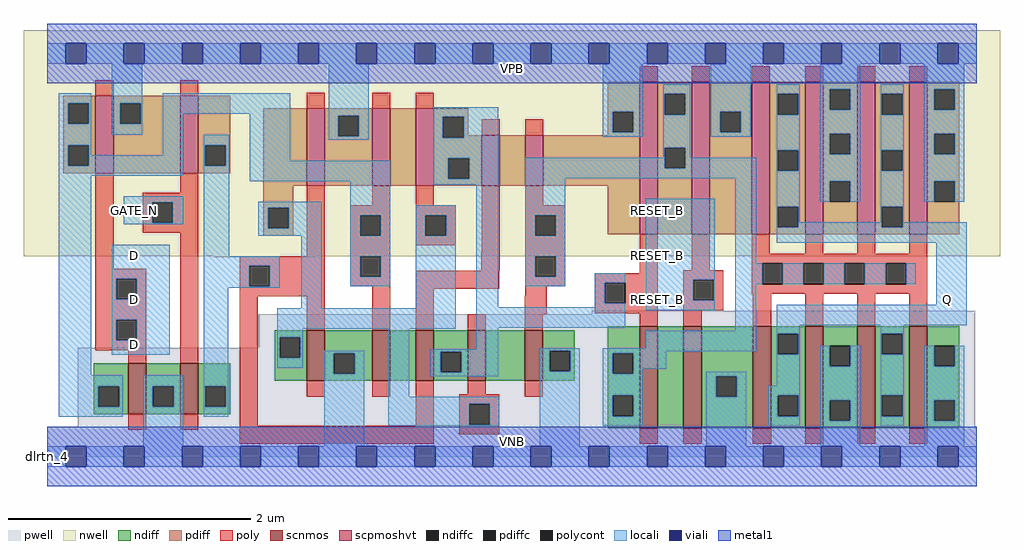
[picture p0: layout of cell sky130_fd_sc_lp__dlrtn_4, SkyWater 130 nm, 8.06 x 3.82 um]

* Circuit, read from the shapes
.subckt sky130_fd_sc_lp__dlrtn_4 D GATE_N RESET_B VGND VNB VPB VPWR Q
XM1 VGND D n1 VNB sky130_fd_pr__nfet_01v8 w=0.42 l=0.15
XM2 n2 GATE_N VGND VNB sky130_fd_pr__nfet_01v8 w=0.42 l=0.15
XM3 VGND n2 n3 VNB sky130_fd_pr__nfet_01v8 w=0.42 l=0.15
XM4 n4 n1 VGND VNB sky130_fd_pr__nfet_01v8 w=0.42 l=0.15
XM5 n5 n2 n4 VNB sky130_fd_pr__nfet_01v8 w=0.42 l=0.15
XM6 n6 n3 n5 VNB sky130_fd_pr__nfet_01v8 w=0.42 l=0.15
XM7 VGND n7 n6 VNB sky130_fd_pr__nfet_01v8 w=0.42 l=0.15
XM8 n8 n5 n7 VNB sky130_fd_pr__nfet_01v8 w=0.84 l=0.15
XM9 VGND RESET_B n8 VNB sky130_fd_pr__nfet_01v8 w=0.84 l=0.15
XM10 Q n7 VGND VNB sky130_fd_pr__nfet_01v8 w=0.84 l=0.15 m=4
XM11 VPWR D n1 VPB sky130_fd_pr__pfet_01v8_hvt w=0.64 l=0.15
XM12 n2 GATE_N VPWR VPB sky130_fd_pr__pfet_01v8_hvt w=0.64 l=0.15
XM13 VPWR n2 n3 VPB sky130_fd_pr__pfet_01v8_hvt w=0.64 l=0.15
XM14 n9 n1 VPWR VPB sky130_fd_pr__pfet_01v8_hvt w=0.64 l=0.15
XM15 n5 n3 n9 VPB sky130_fd_pr__pfet_01v8_hvt w=0.64 l=0.15
XM16 n10 n2 n5 VPB sky130_fd_pr__pfet_01v8_hvt w=0.42 l=0.15
XM17 VPWR n7 n10 VPB sky130_fd_pr__pfet_01v8_hvt w=0.42 l=0.15
XM18 n7 n5 VPWR VPB sky130_fd_pr__pfet_01v8_hvt w=1.26 l=0.15
XM19 VPWR RESET_B n7 VPB sky130_fd_pr__pfet_01v8_hvt w=1.26 l=0.15
XM20 Q n7 VPWR VPB sky130_fd_pr__pfet_01v8_hvt w=1.26 l=0.15 m=4
.ends

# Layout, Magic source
magic
tech sky130A
magscale 1 2
<< nwell >>
rect -38 331 1574 704
rect 275 329 443 331
<< pwell >>
rect 900 235 1533 241
rect 350 180 1533 235
rect 51 49 1533 180
rect 0 0 1536 49
<< scnmos >>
rect 134 70 164 154
rect 220 70 250 154
rect 429 125 459 209
rect 537 125 567 209
rect 609 125 639 209
rect 695 125 725 209
rect 789 125 819 209
rect 979 47 1009 215
rect 1051 47 1081 215
rect 1166 47 1196 215
rect 1252 47 1282 215
rect 1338 47 1368 215
rect 1424 47 1454 215
<< scpmoshvt >>
rect 80 468 110 596
rect 220 468 250 596
rect 429 447 459 575
rect 537 447 567 575
rect 609 447 639 575
rect 718 447 748 531
rect 790 447 820 531
rect 979 367 1009 619
rect 1065 367 1095 619
rect 1164 367 1194 619
rect 1252 367 1282 619
rect 1338 367 1368 619
rect 1424 367 1454 619
<< ndiff >>
rect 77 116 134 154
rect 77 82 85 116
rect 119 82 134 116
rect 77 70 134 82
rect 164 116 220 154
rect 164 82 175 116
rect 209 82 220 116
rect 164 70 220 82
rect 250 116 303 154
rect 250 82 261 116
rect 295 82 303 116
rect 250 70 303 82
rect 376 197 429 209
rect 376 163 384 197
rect 418 163 429 197
rect 376 125 429 163
rect 459 171 537 209
rect 459 137 474 171
rect 508 137 537 171
rect 459 125 537 137
rect 567 125 609 209
rect 639 173 695 209
rect 639 139 650 173
rect 684 139 695 173
rect 639 125 695 139
rect 725 125 789 209
rect 819 175 872 209
rect 819 141 830 175
rect 864 141 872 175
rect 819 125 872 141
rect 926 171 979 215
rect 926 137 934 171
rect 968 137 979 171
rect 926 101 979 137
rect 926 67 934 101
rect 968 67 979 101
rect 926 47 979 67
rect 1009 47 1051 215
rect 1081 133 1166 215
rect 1081 99 1105 133
rect 1139 99 1166 133
rect 1081 47 1166 99
rect 1196 203 1252 215
rect 1196 169 1207 203
rect 1241 169 1252 203
rect 1196 101 1252 169
rect 1196 67 1207 101
rect 1241 67 1252 101
rect 1196 47 1252 67
rect 1282 183 1338 215
rect 1282 149 1293 183
rect 1327 149 1338 183
rect 1282 93 1338 149
rect 1282 59 1293 93
rect 1327 59 1338 93
rect 1282 47 1338 59
rect 1368 203 1424 215
rect 1368 169 1379 203
rect 1413 169 1424 203
rect 1368 101 1424 169
rect 1368 67 1379 101
rect 1413 67 1424 101
rect 1368 47 1424 67
rect 1454 183 1507 215
rect 1454 149 1465 183
rect 1499 149 1507 183
rect 1454 93 1507 149
rect 1454 59 1465 93
rect 1499 59 1507 93
rect 1454 47 1507 59
<< pdiff >>
rect 27 584 80 596
rect 27 550 35 584
rect 69 550 80 584
rect 27 514 80 550
rect 27 480 35 514
rect 69 480 80 514
rect 27 468 80 480
rect 110 584 220 596
rect 110 550 121 584
rect 155 550 220 584
rect 110 468 220 550
rect 250 514 303 596
rect 250 480 261 514
rect 295 480 303 514
rect 250 468 303 480
rect 357 447 429 575
rect 459 563 537 575
rect 459 529 481 563
rect 515 529 537 563
rect 459 447 537 529
rect 567 447 609 575
rect 639 561 696 575
rect 639 527 654 561
rect 688 531 696 561
rect 926 570 979 619
rect 926 536 934 570
rect 968 536 979 570
rect 926 531 979 536
rect 688 527 718 531
rect 639 493 718 527
rect 639 459 663 493
rect 697 459 718 493
rect 639 447 718 459
rect 748 447 790 531
rect 820 447 979 531
rect 357 411 407 447
rect 357 377 365 411
rect 399 377 407 411
rect 357 365 407 377
rect 926 367 979 447
rect 1009 599 1065 619
rect 1009 565 1020 599
rect 1054 565 1065 599
rect 1009 510 1065 565
rect 1009 476 1020 510
rect 1054 476 1065 510
rect 1009 367 1065 476
rect 1095 570 1164 619
rect 1095 536 1112 570
rect 1146 536 1164 570
rect 1095 367 1164 536
rect 1194 599 1252 619
rect 1194 565 1207 599
rect 1241 565 1252 599
rect 1194 506 1252 565
rect 1194 472 1207 506
rect 1241 472 1252 506
rect 1194 413 1252 472
rect 1194 379 1207 413
rect 1241 379 1252 413
rect 1194 367 1252 379
rect 1282 607 1338 619
rect 1282 573 1293 607
rect 1327 573 1338 607
rect 1282 533 1338 573
rect 1282 499 1293 533
rect 1327 499 1338 533
rect 1282 455 1338 499
rect 1282 421 1293 455
rect 1327 421 1338 455
rect 1282 367 1338 421
rect 1368 599 1424 619
rect 1368 565 1379 599
rect 1413 565 1424 599
rect 1368 506 1424 565
rect 1368 472 1379 506
rect 1413 472 1424 506
rect 1368 413 1424 472
rect 1368 379 1379 413
rect 1413 379 1424 413
rect 1368 367 1424 379
rect 1454 607 1507 619
rect 1454 573 1465 607
rect 1499 573 1507 607
rect 1454 533 1507 573
rect 1454 499 1465 533
rect 1499 499 1507 533
rect 1454 455 1507 499
rect 1454 421 1465 455
rect 1499 421 1507 455
rect 1454 367 1507 421
<< ndiffc >>
rect 85 82 119 116
rect 175 82 209 116
rect 261 82 295 116
rect 384 163 418 197
rect 474 137 508 171
rect 650 139 684 173
rect 830 141 864 175
rect 934 137 968 171
rect 934 67 968 101
rect 1105 99 1139 133
rect 1207 169 1241 203
rect 1207 67 1241 101
rect 1293 149 1327 183
rect 1293 59 1327 93
rect 1379 169 1413 203
rect 1379 67 1413 101
rect 1465 149 1499 183
rect 1465 59 1499 93
<< pdiffc >>
rect 35 550 69 584
rect 35 480 69 514
rect 121 550 155 584
rect 261 480 295 514
rect 481 529 515 563
rect 654 527 688 561
rect 934 536 968 570
rect 663 459 697 493
rect 365 377 399 411
rect 1020 565 1054 599
rect 1020 476 1054 510
rect 1112 536 1146 570
rect 1207 565 1241 599
rect 1207 472 1241 506
rect 1207 379 1241 413
rect 1293 573 1327 607
rect 1293 499 1327 533
rect 1293 421 1327 455
rect 1379 565 1413 599
rect 1379 472 1413 506
rect 1379 379 1413 413
rect 1465 573 1499 607
rect 1465 499 1499 533
rect 1465 421 1499 455
<< poly >>
rect 80 596 110 622
rect 220 596 250 622
rect 979 619 1009 645
rect 1065 619 1095 645
rect 1164 619 1194 645
rect 1252 619 1282 645
rect 1338 619 1368 645
rect 1424 619 1454 645
rect 429 575 459 601
rect 537 575 567 601
rect 609 575 639 601
rect 80 310 110 468
rect 220 436 250 468
rect 158 420 250 436
rect 158 386 174 420
rect 208 386 250 420
rect 158 370 250 386
rect 80 294 164 310
rect 80 260 114 294
rect 148 260 164 294
rect 80 226 164 260
rect 80 192 114 226
rect 148 192 164 226
rect 80 176 164 192
rect 134 154 164 176
rect 220 154 250 370
rect 718 531 748 557
rect 790 531 820 557
rect 429 331 459 447
rect 537 415 567 447
rect 318 315 459 331
rect 318 281 334 315
rect 368 281 459 315
rect 501 399 567 415
rect 501 365 517 399
rect 551 365 567 399
rect 501 331 567 365
rect 609 415 639 447
rect 609 399 675 415
rect 609 365 625 399
rect 659 365 675 399
rect 609 349 675 365
rect 718 337 748 447
rect 501 297 517 331
rect 551 297 567 331
rect 717 307 748 337
rect 790 415 820 447
rect 790 399 856 415
rect 790 365 806 399
rect 840 365 856 399
rect 790 331 856 365
rect 501 281 567 297
rect 318 265 459 281
rect 134 44 164 70
rect 220 44 250 70
rect 318 51 348 265
rect 429 209 459 265
rect 537 209 567 281
rect 609 277 747 307
rect 790 297 806 331
rect 840 297 856 331
rect 979 303 1009 367
rect 1065 308 1095 367
rect 1164 335 1194 367
rect 1252 335 1282 367
rect 1338 335 1368 367
rect 1424 335 1454 367
rect 1164 319 1454 335
rect 790 281 856 297
rect 905 287 1009 303
rect 609 209 639 277
rect 790 265 825 281
rect 789 235 825 265
rect 905 253 921 287
rect 955 253 1009 287
rect 905 237 1009 253
rect 695 209 725 235
rect 789 209 819 235
rect 979 215 1009 237
rect 1051 292 1117 308
rect 1051 258 1067 292
rect 1101 258 1117 292
rect 1164 285 1181 319
rect 1215 285 1249 319
rect 1283 285 1317 319
rect 1351 285 1385 319
rect 1419 285 1454 319
rect 1164 269 1454 285
rect 1051 242 1117 258
rect 1051 215 1081 242
rect 1166 215 1196 269
rect 1252 215 1282 269
rect 1338 215 1368 269
rect 1424 215 1454 269
rect 429 99 459 125
rect 537 99 567 125
rect 609 51 639 125
rect 695 103 725 125
rect 318 21 639 51
rect 681 87 747 103
rect 789 99 819 125
rect 681 53 697 87
rect 731 53 747 87
rect 681 37 747 53
rect 979 21 1009 47
rect 1051 21 1081 47
rect 1166 21 1196 47
rect 1252 21 1282 47
rect 1338 21 1368 47
rect 1424 21 1454 47
<< polycont >>
rect 174 386 208 420
rect 114 260 148 294
rect 114 192 148 226
rect 334 281 368 315
rect 517 365 551 399
rect 625 365 659 399
rect 517 297 551 331
rect 806 365 840 399
rect 806 297 840 331
rect 921 253 955 287
rect 1067 258 1101 292
rect 1181 285 1215 319
rect 1249 285 1283 319
rect 1317 285 1351 319
rect 1385 285 1419 319
rect 697 53 731 87
<< locali >>
rect 0 649 31 683
rect 65 649 127 683
rect 161 649 223 683
rect 257 649 319 683
rect 353 649 415 683
rect 449 649 511 683
rect 545 649 607 683
rect 641 649 703 683
rect 737 649 799 683
rect 833 649 895 683
rect 929 649 991 683
rect 1025 649 1087 683
rect 1121 649 1183 683
rect 1217 649 1279 683
rect 1313 649 1375 683
rect 1409 649 1471 683
rect 1505 649 1536 683
rect 19 584 73 600
rect 19 550 35 584
rect 69 550 73 584
rect 19 514 73 550
rect 107 584 157 649
rect 107 550 121 584
rect 155 550 157 584
rect 107 532 157 550
rect 191 566 402 600
rect 19 480 35 514
rect 69 498 73 514
rect 191 498 225 566
rect 69 480 225 498
rect 19 464 225 480
rect 259 514 301 532
rect 259 480 261 514
rect 295 480 301 514
rect 19 134 73 464
rect 127 420 225 430
rect 127 386 174 420
rect 208 386 225 420
rect 127 384 225 386
rect 107 294 203 350
rect 107 260 114 294
rect 148 260 203 294
rect 107 226 203 260
rect 107 192 114 226
rect 148 192 203 226
rect 107 168 203 192
rect 259 331 301 480
rect 335 489 402 566
rect 465 563 531 649
rect 465 529 481 563
rect 515 529 531 563
rect 465 523 531 529
rect 638 561 745 577
rect 638 527 654 561
rect 688 527 745 561
rect 918 570 984 649
rect 918 536 934 570
rect 968 536 984 570
rect 918 528 984 536
rect 1018 599 1062 615
rect 1018 565 1020 599
rect 1054 565 1062 599
rect 638 493 745 527
rect 1018 510 1062 565
rect 1096 570 1162 649
rect 1096 536 1112 570
rect 1146 536 1162 570
rect 1096 528 1162 536
rect 1205 599 1243 615
rect 1205 565 1207 599
rect 1241 565 1243 599
rect 1018 494 1020 510
rect 335 455 567 489
rect 349 411 454 421
rect 349 377 365 411
rect 399 377 454 411
rect 349 365 454 377
rect 259 315 384 331
rect 259 281 334 315
rect 368 281 384 315
rect 259 279 384 281
rect 19 116 125 134
rect 19 82 85 116
rect 119 82 125 116
rect 19 66 125 82
rect 159 116 225 134
rect 159 82 175 116
rect 209 82 225 116
rect 159 17 225 82
rect 259 116 299 279
rect 420 245 454 365
rect 501 399 567 455
rect 638 459 663 493
rect 697 459 745 493
rect 638 449 745 459
rect 501 365 517 399
rect 551 365 567 399
rect 501 331 567 365
rect 501 297 517 331
rect 551 297 567 331
rect 501 281 567 297
rect 609 399 675 415
rect 609 365 625 399
rect 659 365 675 399
rect 609 245 675 365
rect 380 211 675 245
rect 709 247 745 449
rect 790 476 1020 494
rect 1054 494 1062 510
rect 1205 506 1243 565
rect 1054 476 1171 494
rect 790 460 1171 476
rect 790 399 856 460
rect 790 365 806 399
rect 840 365 856 399
rect 790 331 856 365
rect 790 297 806 331
rect 840 297 856 331
rect 790 281 856 297
rect 905 287 955 303
rect 905 253 921 287
rect 905 247 955 253
rect 709 213 955 247
rect 989 292 1103 426
rect 989 258 1067 292
rect 1101 258 1103 292
rect 989 242 1103 258
rect 1137 319 1171 460
rect 1205 472 1207 506
rect 1241 472 1243 506
rect 1205 413 1243 472
rect 1277 607 1343 649
rect 1277 573 1293 607
rect 1327 573 1343 607
rect 1277 533 1343 573
rect 1277 499 1293 533
rect 1327 499 1343 533
rect 1277 455 1343 499
rect 1277 421 1293 455
rect 1327 421 1343 455
rect 1377 599 1415 615
rect 1377 565 1379 599
rect 1413 565 1415 599
rect 1377 506 1415 565
rect 1377 472 1379 506
rect 1413 472 1415 506
rect 1205 379 1207 413
rect 1241 387 1243 413
rect 1377 413 1415 472
rect 1449 607 1515 649
rect 1449 573 1465 607
rect 1499 573 1515 607
rect 1449 533 1515 573
rect 1449 499 1465 533
rect 1499 499 1515 533
rect 1449 455 1515 499
rect 1449 421 1465 455
rect 1499 421 1515 455
rect 1377 387 1379 413
rect 1241 379 1379 387
rect 1413 387 1415 413
rect 1413 379 1519 387
rect 1205 353 1519 379
rect 1137 285 1181 319
rect 1215 285 1249 319
rect 1283 285 1317 319
rect 1351 285 1385 319
rect 1419 285 1435 319
rect 380 197 422 211
rect 380 163 384 197
rect 418 163 422 197
rect 380 147 422 163
rect 458 171 524 175
rect 259 82 261 116
rect 295 82 299 116
rect 259 66 299 82
rect 458 137 474 171
rect 508 137 524 171
rect 458 17 524 137
rect 564 99 598 211
rect 709 177 745 213
rect 1137 208 1171 285
rect 1469 251 1519 353
rect 989 179 1171 208
rect 634 173 745 177
rect 634 139 650 173
rect 684 139 745 173
rect 634 133 745 139
rect 814 175 880 179
rect 814 141 830 175
rect 864 141 880 175
rect 564 87 747 99
rect 564 53 697 87
rect 731 53 747 87
rect 564 51 747 53
rect 814 17 880 141
rect 918 174 1171 179
rect 1205 217 1519 251
rect 1205 203 1243 217
rect 918 171 1023 174
rect 918 137 934 171
rect 968 145 1023 171
rect 1205 169 1207 203
rect 1241 169 1243 203
rect 1377 203 1415 217
rect 968 137 984 145
rect 918 101 984 137
rect 918 67 934 101
rect 968 67 984 101
rect 918 51 984 67
rect 1089 133 1155 140
rect 1089 99 1105 133
rect 1139 99 1155 133
rect 1205 117 1243 169
rect 1089 17 1155 99
rect 1191 101 1243 117
rect 1191 67 1207 101
rect 1241 67 1243 101
rect 1191 51 1243 67
rect 1277 149 1293 183
rect 1327 149 1343 183
rect 1277 93 1343 149
rect 1277 59 1293 93
rect 1327 59 1343 93
rect 1277 17 1343 59
rect 1377 169 1379 203
rect 1413 169 1415 203
rect 1377 101 1415 169
rect 1377 67 1379 101
rect 1413 67 1415 101
rect 1377 51 1415 67
rect 1449 149 1465 183
rect 1499 149 1515 183
rect 1449 93 1515 149
rect 1449 59 1465 93
rect 1499 59 1515 93
rect 1449 17 1515 59
rect 0 -17 31 17
rect 65 -17 127 17
rect 161 -17 223 17
rect 257 -17 319 17
rect 353 -17 415 17
rect 449 -17 511 17
rect 545 -17 607 17
rect 641 -17 703 17
rect 737 -17 799 17
rect 833 -17 895 17
rect 929 -17 991 17
rect 1025 -17 1087 17
rect 1121 -17 1183 17
rect 1217 -17 1279 17
rect 1313 -17 1375 17
rect 1409 -17 1471 17
rect 1505 -17 1536 17
<< viali >>
rect 31 649 65 683
rect 127 649 161 683
rect 223 649 257 683
rect 319 649 353 683
rect 415 649 449 683
rect 511 649 545 683
rect 607 649 641 683
rect 703 649 737 683
rect 799 649 833 683
rect 895 649 929 683
rect 991 649 1025 683
rect 1087 649 1121 683
rect 1183 649 1217 683
rect 1279 649 1313 683
rect 1375 649 1409 683
rect 1471 649 1505 683
rect 31 -17 65 17
rect 127 -17 161 17
rect 223 -17 257 17
rect 319 -17 353 17
rect 415 -17 449 17
rect 511 -17 545 17
rect 607 -17 641 17
rect 703 -17 737 17
rect 799 -17 833 17
rect 895 -17 929 17
rect 991 -17 1025 17
rect 1087 -17 1121 17
rect 1183 -17 1217 17
rect 1279 -17 1313 17
rect 1375 -17 1409 17
rect 1471 -17 1505 17
<< metal1 >>
rect 0 683 1536 715
rect 0 649 31 683
rect 65 649 127 683
rect 161 649 223 683
rect 257 649 319 683
rect 353 649 415 683
rect 449 649 511 683
rect 545 649 607 683
rect 641 649 703 683
rect 737 649 799 683
rect 833 649 895 683
rect 929 649 991 683
rect 1025 649 1087 683
rect 1121 649 1183 683
rect 1217 649 1279 683
rect 1313 649 1375 683
rect 1409 649 1471 683
rect 1505 649 1536 683
rect 0 617 1536 649
rect 0 17 1536 49
rect 0 -17 31 17
rect 65 -17 127 17
rect 161 -17 223 17
rect 257 -17 319 17
rect 353 -17 415 17
rect 449 -17 511 17
rect 545 -17 607 17
rect 641 -17 703 17
rect 737 -17 799 17
rect 833 -17 895 17
rect 929 -17 991 17
rect 1025 -17 1087 17
rect 1121 -17 1183 17
rect 1217 -17 1279 17
rect 1313 -17 1375 17
rect 1409 -17 1471 17
rect 1505 -17 1536 17
rect 0 -49 1536 -17
<< labels >>
flabel pwell s 0 0 1536 49 0 FreeSans 200 0 0 0 VNB
port 5 nsew ground bidirectional
flabel nwell s 0 617 1536 666 0 FreeSans 200 0 0 0 VPB
port 6 nsew power bidirectional
rlabel comment s 0 0 0 0 4 dlrtn_4
flabel metal1 s 0 617 1536 666 0 FreeSans 340 0 0 0 VPWR
port 7 nsew power bidirectional
flabel metal1 s 0 0 1536 49 0 FreeSans 340 0 0 0 VGND
port 4 nsew ground bidirectional
flabel locali s 1471 242 1505 276 0 FreeSans 340 0 0 0 Q
port 8 nsew signal output
flabel locali s 127 168 161 202 0 FreeSans 340 0 0 0 D
port 1 nsew signal input
flabel locali s 127 242 161 276 0 FreeSans 340 0 0 0 D
port 1 nsew signal input
flabel locali s 127 316 161 350 0 FreeSans 340 0 0 0 D
port 1 nsew signal input
flabel locali s 991 242 1025 276 0 FreeSans 340 0 0 0 RESET_B
port 3 nsew signal input
flabel locali s 991 316 1025 350 0 FreeSans 340 0 0 0 RESET_B
port 3 nsew signal input
flabel locali s 991 390 1025 424 0 FreeSans 340 0 0 0 RESET_B
port 3 nsew signal input
flabel locali s 127 390 161 424 0 FreeSans 340 0 0 0 GATE_N
port 2 nsew clock input
<< properties >>
string LEFsite unit
string LEFclass CORE
string FIXED_BBOX 0 0 1536 666
string GDS_FILE $PDKPATH/libs.ref/sky130_fd_sc_lp/gds/sky130_fd_sc_lp.gds
string LEFsymmetry X Y R90
string GDS_END 2690072
string GDS_START 2678132
<< end >>
